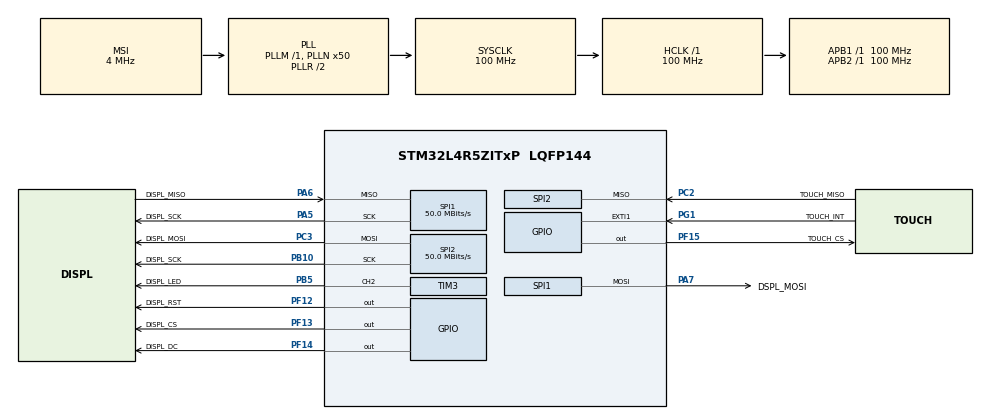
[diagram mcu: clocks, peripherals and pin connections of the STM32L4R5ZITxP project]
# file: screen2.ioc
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Dma.Request0=SPI2_TX
Dma.Request1=SPI1_TX
Dma.SPI1_TX.1.Direction=DMA_MEMORY_TO_PERIPH
Dma.SPI1_TX.1.EventEnable=DISABLE
Dma.SPI1_TX.1.Instance=DMA1_Channel2
Dma.SPI1_TX.1.MemDataAlignment=DMA_MDATAALIGN_BYTE
Dma.SPI1_TX.1.MemInc=DMA_MINC_ENABLE
Dma.SPI1_TX.1.Mode=DMA_NORMAL
Dma.SPI1_TX.1.PeriphDataAlignment=DMA_PDATAALIGN_BYTE
Dma.SPI1_TX.1.PeriphInc=DMA_PINC_DISABLE
Dma.SPI1_TX.1.Polarity=HAL_DMAMUX_REQUEST_GEN_RISING
Dma.SPI1_TX.1.Priority=DMA_PRIORITY_LOW
Dma.SPI1_TX.1.RequestNumber=1
Dma.SPI1_TX.1.SignalID=NONE
Dma.SPI1_TX.1.SyncEnable=DISABLE
Dma.SPI1_TX.1.SyncPolarity=HAL_DMAMUX_SYNC_NO_EVENT
Dma.SPI1_TX.1.SyncRequestNumber=1
Dma.SPI1_TX.1.SyncSignalID=NONE
Dma.SPI2_TX.0.Direction=DMA_MEMORY_TO_PERIPH
Dma.SPI2_TX.0.EventEnable=DISABLE
Dma.SPI2_TX.0.Instance=DMA1_Channel1
Dma.SPI2_TX.0.MemDataAlignment=DMA_MDATAALIGN_BYTE
Dma.SPI2_TX.0.MemInc=DMA_MINC_ENABLE
Dma.SPI2_TX.0.Mode=DMA_NORMAL
Dma.SPI2_TX.0.PeriphDataAlignment=DMA_PDATAALIGN_BYTE
Dma.SPI2_TX.0.PeriphInc=DMA_PINC_DISABLE
Dma.SPI2_TX.0.Polarity=HAL_DMAMUX_REQUEST_GEN_RISING
Dma.SPI2_TX.0.Priority=DMA_PRIORITY_LOW
Dma.SPI2_TX.0.RequestNumber=1
Dma.SPI2_TX.0.SignalID=NONE
Dma.SPI2_TX.0.SyncEnable=DISABLE
Dma.SPI2_TX.0.SyncPolarity=HAL_DMAMUX_SYNC_NO_EVENT
Dma.SPI2_TX.0.SyncRequestNumber=1
Dma.SPI2_TX.0.SyncSignalID=NONE
Mcu.Family=STM32L4
Mcu.Name=STM32L4R5ZITxP
Mcu.Package=LQFP144
NVIC.DMA1_Channel1_IRQn=true\:0\:0\:false\:false\:true\:false\:true\:true
NVIC.DMA1_Channel2_IRQn=true\:0\:0\:false\:false\:true\:false\:true\:true
NVIC.EXTI1_IRQn=true\:0\:0\:false\:false\:true\:true\:true\:true
NVIC.PriorityGroup=NVIC_PRIORITYGROUP_4
NVIC.SPI1_IRQn=true\:0\:0\:false\:false\:true\:true\:true\:true
NVIC.SPI2_IRQn=true\:0\:0\:false\:false\:true\:true\:true\:true
PA1.Signal=ADCx_IN6
PA10.Signal=USB_OTG_FS_ID
PA13\ (JTMS/SWDIO).Mode=Serial_Wire
PA13\ (JTMS/SWDIO).Signal=SYS_JTMS-SWDIO
PA14\ (JTCK/SWCLK).Mode=Serial_Wire
PA14\ (JTCK/SWCLK).Signal=SYS_JTCK-SWCLK
PA3.Signal=ADCx_IN8
PA4.Signal=SPI1_NSS
PA5.GPIO_Label=DISPL_SCK
PA5.Mode=Full_Duplex_Master
PA5.Signal=SPI1_SCK
PA6.GPIO_Label=DISPL_MISO
PA6.Mode=Full_Duplex_Master
PA6.Signal=SPI1_MISO
PA7.GPIO_Label=DSPL_MOSI
PA7.Mode=Full_Duplex_Master
PA7.Signal=SPI1_MOSI
PA9.Signal=USB_OTG_FS_VBUS
PB0.Signal=S_TIM3_CH3
PB1.Signal=ADCx_IN16
PB10.GPIO_Label=DISPL_SCK
PB10.Mode=Full_Duplex_Master
PB10.Signal=SPI2_SCK
PB12.Signal=SAI2_FS_A
PB13.Signal=SAI2_SCK_A
PB14.Signal=S_TIM15_CH1
PB15.Signal=SAI2_SD_A
PB2.Signal=COMP1_INP
PB5.GPIO_Label=DISPL_LED
PB5.Signal=S_TIM3_CH2
PB6.Signal=COMP2_INP
PB8.Signal=I2C1_SCL
PB9.Signal=I2C1_SDA
PC0.Signal=ADCx_IN1
PC10.Signal=SDMMC1_D2
PC11.Signal=SDMMC1_D3
PC12.Signal=SDMMC1_CK
PC13.Signal=SYS_WKUP2
PC14-OSC32_IN\ (PC14).Signal=RCC_OSC32_IN
PC15-OSC32_OUT\ (PC15).Signal=RCC_OSC32_OUT
PC2.GPIO_Label=TOUCH_MISO
PC2.Mode=Full_Duplex_Master
PC2.Signal=SPI2_MISO
PC3.GPIO_Label=DISPL_MOSI
PC3.Mode=Full_Duplex_Master
PC3.Signal=SPI2_MOSI
PC4.Signal=ADCx_IN13
PC6.Signal=S_TIM3_CH1
PC8.Signal=SDMMC1_D0
PC9.Signal=SDMMC1_D1
PD14.Signal=S_TIM4_CH3
PD15.Signal=S_TIM4_CH4
PD2.Signal=SDMMC1_CMD
PD3.Signal=USART2_CTS
PD4.Signal=USART2_RTS
PD5.Signal=USART2_TX
PD6.Signal=USART2_RX
PD8.Signal=USART3_TX
PD9.Signal=USART3_RX
PE0.Signal=S_TIM4_ETR
PE10.Signal=TIM1_CH2N
PE11.Signal=S_TIM1_CH2
PE12.Signal=TIM1_CH3N
PE13.Signal=S_TIM1_CH3
PE14.Signal=TIM1_BKIN2
PE15.Signal=TIM1_BKIN
PE3.Signal=SAI1_SD_B
PE7.Signal=S_TIM1_ETR
PE8.Signal=TIM1_CH1N
PE9.Signal=S_TIM1_CH1
PF0.Signal=I2C2_SDA
PF1.Signal=I2C2_SCL
PF12.GPIO_Label=DISPL_RST
PF12.Signal=GPIO_Output
PF13.GPIO_Label=DISPL_CS
PF13.GPIO_Speed=GPIO_SPEED_FREQ_HIGH
PF13.PinState=GPIO_PIN_SET
PF13.Signal=GPIO_Output
PF14.GPIO_Label=DISPL_DC
PF14.GPIO_Speed=GPIO_SPEED_FREQ_HIGH
PF14.Signal=GPIO_Output
PF15.GPIO_Label=TOUCH_CS
PF15.GPIO_Speed=GPIO_SPEED_FREQ_HIGH
PF15.PinState=GPIO_PIN_SET
PF15.Signal=GPIO_Output
PF2.Signal=I2C2_SMBA
PF7.Signal=SAI1_MCLK_B
PG1.GPIO_Label=TOUCH_INT
PG1.Signal=GPXTI1
PG7.Signal=LPUART1_TX
PG8.Signal=LPUART1_RX
PH0-OSC_IN\ (PH0).Mode=HSE-External-Oscillator
PH0-OSC_IN\ (PH0).Signal=RCC_OSC_IN
PH1-OSC_OUT\ (PH1).Mode=HSE-External-Oscillator
PH1-OSC_OUT\ (PH1).Signal=RCC_OSC_OUT
ProjectManager.HeapSize=0x200
ProjectManager.StackSize=0x400
ProjectManager.TargetToolchain=STM32CubeIDE
RCC.AHBFreq_Value=100000000
RCC.APB1Freq_Value=100000000
RCC.APB1TimFreq_Value=100000000
RCC.APB2Freq_Value=100000000
RCC.APB2TimFreq_Value=100000000
RCC.CortexFreq_Value=100000000
RCC.HCLKFreq_Value=100000000
RCC.HSE_VALUE=25000000
RCC.HSI48_VALUE=48000000
RCC.HSI_VALUE=16000000
RCC.LSE_VALUE=32768
RCC.MSI_VALUE=4000000
RCC.PLLN=50
RCC.SYSCLKFreq_VALUE=100000000
RCC.SYSCLKSource=RCC_SYSCLKSOURCE_PLLCLK
RCC.VCOOutputFreq_Value=200000000
SH.ADCx_IN1.0=ADC1_IN1
SH.ADCx_IN13.0=ADC1_IN13
SH.ADCx_IN16.0=ADC1_IN16
SH.ADCx_IN6.0=ADC1_IN6
SH.ADCx_IN8.0=ADC1_IN8
SH.S_TIM15_CH1.0=TIM15_CH1
SH.S_TIM1_CH1.0=TIM1_CH1
SH.S_TIM1_CH2.0=TIM1_CH2
SH.S_TIM1_CH3.0=TIM1_CH3
SH.S_TIM1_ETR.0=TIM1_ETR
SH.S_TIM3_CH1.0=TIM3_CH1
SH.S_TIM3_CH2.0=TIM3_CH2,PWM Generation2 CH2
SH.S_TIM3_CH3.0=TIM3_CH3
SH.S_TIM4_CH3.0=TIM4_CH3
SH.S_TIM4_CH4.0=TIM4_CH4
SH.S_TIM4_ETR.0=TIM4_ETR
SPI1.CalculateBaudRate=50.0 MBits/s
SPI1.DataSize=SPI_DATASIZE_8BIT
SPI1.Direction=SPI_DIRECTION_2LINES
SPI1.Mode=SPI_MODE_MASTER
SPI1.VirtualType=VM_MASTER
SPI2.CalculateBaudRate=50.0 MBits/s
SPI2.DataSize=SPI_DATASIZE_8BIT
SPI2.Direction=SPI_DIRECTION_2LINES
SPI2.Mode=SPI_MODE_MASTER
SPI2.VirtualType=VM_MASTER
STMicroelectronics.X-CUBE-TOUCHGFX.4.22.1.ApplicationCcGraphicsJjApplication=TouchGFXOoGenerator
STMicroelectronics.X-CUBE-TOUCHGFX.4.22.1.tgfx_buffering_strategy=Partial
STMicroelectronics.X-CUBE-TOUCHGFX.4.22.1.tgfx_custom_height=240
STMicroelectronics.X-CUBE-TOUCHGFX.4.22.1.tgfx_custom_width=320
STMicroelectronics.X-CUBE-TOUCHGFX.4.22.1_IsPackSelfContextualization=true
TIM3.Channel-PWM\ Generation2\ CH2=TIM_CHANNEL_2
TIM3.Period=100
TIM3.Prescaler=10000
VP_CRC_VS_CRC.Mode=CRC_Activate
VP_STMicroelectronics.X-CUBE-TOUCHGFX_VS_GraphicsJjApplication_4.22.1.Mode=GraphicsJjApplication
board=NUCLEO-L4R5ZI-P

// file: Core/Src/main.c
/* USER CODE BEGIN Header */
/**
  ******************************************************************************
  * @file           : main.c
  * @brief          : Main program body
  ******************************************************************************
  * @attention
  *
  * Copyright (c) 2023 STMicroelectronics.
  * All rights reserved.
  *
  * This software is licensed under terms that can be found in the LICENSE file
  * in the root directory of this software component.
  * If no LICENSE file comes with this software, it is provided AS-IS.
  *
  ******************************************************************************
  */
/* USER CODE END Header */
#include "main.h"
#include "app_touchgfx.h"

/* USER CODE BEGIN PD */
#define maxLetters 50
/* USER CODE END PD */

CRC_HandleTypeDef hcrc;

SPI_HandleTypeDef hspi1;
SPI_HandleTypeDef hspi2;
DMA_HandleTypeDef hdma_spi1_tx;
DMA_HandleTypeDef hdma_spi2_tx;

TIM_HandleTypeDef htim3;

/* USER CODE BEGIN PV */
__IO uint8_t midi_titleBuffer[maxLetters] = "hello world";
__IO uint8_t rx_counter = 50;
__IO uint8_t midiTitleReady = 1;

/* USER CODE END PV */

void SystemClock_Config(void);
static void MX_GPIO_Init(void);
static void MX_DMA_Init(void);
static void MX_SPI1_Init(void);
static void MX_SPI2_Init(void);
static void MX_CRC_Init(void);
static void MX_TIM3_Init(void);

int main(void)
{

  /* MCU Configuration--------------------------------------------------------*/

  /* Reset of all peripherals, Initializes the Flash interface and the Systick. */

	HAL_Init();

  /* Configure the system clock */
  SystemClock_Config();

  /* Initialize all configured peripherals */
  MX_GPIO_Init();
  MX_DMA_Init();
  MX_SPI1_Init();
  MX_SPI2_Init();
  MX_CRC_Init();
  MX_TIM3_Init();
  MX_TouchGFX_Init();
  /* USER CODE BEGIN 2 */
  Displ_Init(Displ_Orientat_270);		// initialize the display and set the initial display orientation (here is orientaton: 0°) - THIS FUNCTION MUST PRECEED ANY OTHER DISPLAY FUNCTION CALL.
  touchgfxSignalVSync();		// asks TouchGFX to start initial display drawing
  Displ_BackLight('I');  			// initialize backlight and turn it on at init level

//  ILI9341_Init();
//
//  // Simple Text writing (Text, Font, X, Y, Color, BackColor)
//  // Available Fonts are FONT1, FONT2, FONT3 and FONT4
//  ILI9341_FillScreen(WHITE);
//  ILI9341_SetRotation(SCREEN_HORIZONTAL_2);
//  ILI9341_DrawText("hIIII", FONT1, 10, 110, BLACK, WHITE);
//  ILI9341_DrawText("Zovic, Jesus, Pranav, Daniel", FONT3, 0, 70, BLACK, WHITE);
//
//  HAL_Delay(1000);
//
//  //Writing numbers
//  ILI9341_FillScreen(WHITE);
//  static char BufferText[30];
//  for(uint8_t i = 0; i <= 5; i++)
//  {
//    sprintf(BufferText, "COUNT : %d", i);
//    ILI9341_DrawText(BufferText, FONT3, 10, 10, BLACK, WHITE);
//    ILI9341_DrawText(BufferText, FONT3, 10, 30, BLUE, WHITE);
//    ILI9341_DrawText(BufferText, FONT3, 10, 50, RED, WHITE);
//    ILI9341_DrawText(BufferText, FONT3, 10, 70, GREEN, WHITE);
//    ILI9341_DrawText(BufferText, FONT3, 10, 90, YELLOW, WHITE);
//    ILI9341_DrawText(BufferText, FONT3, 10, 110, PURPLE, WHITE);
//    ILI9341_DrawText(BufferText, FONT3, 10, 130, ORANGE, WHITE);
//    ILI9341_DrawText(BufferText, FONT3, 10, 150, MAROON, WHITE);
//    ILI9341_DrawText(BufferText, FONT3, 10, 170, WHITE, BLACK);
//    ILI9341_DrawText(BufferText, FONT3, 10, 190, BLUE, BLACK);
//  }
//
//  // Horizontal Line (X, Y, Length, Color)
//  ILI9341_FillScreen(WHITE);
//  ILI9341_DrawHLine(50, 120, 200, NAVY);
//  HAL_Delay(1000);
//
//  // Vertical Line (X, Y, Length, Color)
//  ILI9341_FillScreen(WHITE);
//  ILI9341_DrawVLine(160, 40, 150, DARKGREEN);
//  HAL_Delay(1000);
//
//  // Hollow Circle (Centre X, Centre Y, Radius, Color)
//  ILI9341_FillScreen(WHITE);
//  ILI9341_DrawHollowCircle(160, 120, 80, PINK);
//  HAL_Delay(1000);
//
//  // Filled Circle (Centre X, Centre Y, Radius, Color)
//  ILI9341_FillScreen(WHITE);
//  ILI9341_DrawFilledCircle(160, 120, 50, CYAN);
//  HAL_Delay(1000);
//
//  // Filled Rectangle (Start X, Start Y, Length X, Length Y)
//  ILI9341_FillScreen(WHITE);
//  ILI9341_DrawRectangle(50, 50, 220, 140, GREENYELLOW);
//  HAL_Delay(1000);
//
//  // Hollow Rectangle (Start X, Start Y, End X, End Y)
//  ILI9341_FillScreen(WHITE);
//  ILI9341_DrawHollowRectangleCoord(50, 50, 270, 190, DARKCYAN);
//  HAL_Delay(1000);
//
//  // Simple Pixel Only (X, Y, Color)
//  ILI9341_FillScreen(WHITE);
//  ILI9341_DrawPixel(100, 100, BLACK);
//  HAL_Delay(1000);
  /* USER CODE END 2 */

  /* Infinite loop */
  /* USER CODE BEGIN WHILE */
  int pressed = 0;
  int start = 0;
  while (1)
  {	 		// asks TouchGFX to get events and redraw screen

	  if(start){
		  touchgfxSignalVSync();
	  }

	  if(Touch_In_XY_area(120,  140,138,50)){
		  start = 1;
		  pressed = !pressed;
	  	  touchgfxSignalVSync();		// asks TouchGFX to handle touch and redraw screen
	  }

    /* USER CODE END WHILE */

  MX_TouchGFX_Process();
  }
}

void SystemClock_Config(void)
{
  RCC_OscInitTypeDef RCC_OscInitStruct = {0};
  RCC_ClkInitTypeDef RCC_ClkInitStruct = {0};

  /** Configure the main internal regulator output voltage
  */
  if (HAL_PWREx_ControlVoltageScaling(PWR_REGULATOR_VOLTAGE_SCALE1_BOOST) != HAL_OK)
  {
    Error_Handler();
  }

  /** Initializes the RCC Oscillators according to the specified parameters
  * in the RCC_OscInitTypeDef structure.
  */
  RCC_OscInitStruct.OscillatorType = RCC_OSCILLATORTYPE_MSI;
  RCC_OscInitStruct.MSIState = RCC_MSI_ON;
  RCC_OscInitStruct.MSICalibrationValue = 0;
  RCC_OscInitStruct.MSIClockRange = RCC_MSIRANGE_6;
  RCC_OscInitStruct.PLL.PLLState = RCC_PLL_ON;
  RCC_OscInitStruct.PLL.PLLSource = RCC_PLLSOURCE_MSI;
  RCC_OscInitStruct.PLL.PLLM = 1;
  RCC_OscInitStruct.PLL.PLLN = 50;
  RCC_OscInitStruct.PLL.PLLP = RCC_PLLP_DIV2;
  RCC_OscInitStruct.PLL.PLLQ = RCC_PLLQ_DIV2;
  RCC_OscInitStruct.PLL.PLLR = RCC_PLLR_DIV2;
  if (HAL_RCC_OscConfig(&RCC_OscInitStruct) != HAL_OK)
  {
    Error_Handler();
  }

  /** Initializes the CPU, AHB and APB buses clocks
  */
  RCC_ClkInitStruct.ClockType = RCC_CLOCKTYPE_HCLK|RCC_CLOCKTYPE_SYSCLK
                              |RCC_CLOCKTYPE_PCLK1|RCC_CLOCKTYPE_PCLK2;
  RCC_ClkInitStruct.SYSCLKSource = RCC_SYSCLKSOURCE_PLLCLK;
  RCC_ClkInitStruct.AHBCLKDivider = RCC_SYSCLK_DIV1;
  RCC_ClkInitStruct.APB1CLKDivider = RCC_HCLK_DIV1;
  RCC_ClkInitStruct.APB2CLKDivider = RCC_HCLK_DIV1;

  if (HAL_RCC_ClockConfig(&RCC_ClkInitStruct, FLASH_LATENCY_4) != HAL_OK)
  {
    Error_Handler();
  }
}

static void MX_CRC_Init(void)
{

  hcrc.Instance = CRC;
  hcrc.Init.DefaultPolynomialUse = DEFAULT_POLYNOMIAL_ENABLE;
  hcrc.Init.DefaultInitValueUse = DEFAULT_INIT_VALUE_ENABLE;
  hcrc.Init.InputDataInversionMode = CRC_INPUTDATA_INVERSION_NONE;
  hcrc.Init.OutputDataInversionMode = CRC_OUTPUTDATA_INVERSION_DISABLE;
  hcrc.InputDataFormat = CRC_INPUTDATA_FORMAT_BYTES;
  if (HAL_CRC_Init(&hcrc) != HAL_OK)
  {
    Error_Handler();
  }

}

static void MX_SPI1_Init(void)
{

  /* SPI1 parameter configuration*/
  hspi1.Instance = SPI1;
  hspi1.Init.Mode = SPI_MODE_MASTER;
  hspi1.Init.Direction = SPI_DIRECTION_2LINES;
  hspi1.Init.DataSize = SPI_DATASIZE_8BIT;
  hspi1.Init.CLKPolarity = SPI_POLARITY_LOW;
  hspi1.Init.CLKPhase = SPI_PHASE_1EDGE;
  hspi1.Init.NSS = SPI_NSS_SOFT;
  hspi1.Init.BaudRatePrescaler = SPI_BAUDRATEPRESCALER_2;
  hspi1.Init.FirstBit = SPI_FIRSTBIT_MSB;
  hspi1.Init.TIMode = SPI_TIMODE_DISABLE;
  hspi1.Init.CRCCalculation = SPI_CRCCALCULATION_DISABLE;
  hspi1.Init.CRCPolynomial = 7;
  hspi1.Init.CRCLength = SPI_CRC_LENGTH_DATASIZE;
  hspi1.Init.NSSPMode = SPI_NSS_PULSE_ENABLE;
  if (HAL_SPI_Init(&hspi1) != HAL_OK)
  {
    Error_Handler();
  }

}

static void MX_SPI2_Init(void)
{

  /* SPI2 parameter configuration*/
  hspi2.Instance = SPI2;
  hspi2.Init.Mode = SPI_MODE_MASTER;
  hspi2.Init.Direction = SPI_DIRECTION_2LINES;
  hspi2.Init.DataSize = SPI_DATASIZE_8BIT;
  hspi2.Init.CLKPolarity = SPI_POLARITY_LOW;
  hspi2.Init.CLKPhase = SPI_PHASE_1EDGE;
  hspi2.Init.NSS = SPI_NSS_SOFT;
  hspi2.Init.BaudRatePrescaler = SPI_BAUDRATEPRESCALER_2;
  hspi2.Init.FirstBit = SPI_FIRSTBIT_MSB;
  hspi2.Init.TIMode = SPI_TIMODE_DISABLE;
  hspi2.Init.CRCCalculation = SPI_CRCCALCULATION_DISABLE;
  hspi2.Init.CRCPolynomial = 7;
  hspi2.Init.CRCLength = SPI_CRC_LENGTH_DATASIZE;
  hspi2.Init.NSSPMode = SPI_NSS_PULSE_ENABLE;
  if (HAL_SPI_Init(&hspi2) != HAL_OK)
  {
    Error_Handler();
  }

}

static void MX_TIM3_Init(void)
{

  TIM_MasterConfigTypeDef sMasterConfig = {0};
  TIM_OC_InitTypeDef sConfigOC = {0};

  htim3.Instance = TIM3;
  htim3.Init.Prescaler = 10000;
  htim3.Init.CounterMode = TIM_COUNTERMODE_UP;
  htim3.Init.Period = 100;
  htim3.Init.ClockDivision = TIM_CLOCKDIVISION_DIV1;
  htim3.Init.AutoReloadPreload = TIM_AUTORELOAD_PRELOAD_DISABLE;
  if (HAL_TIM_PWM_Init(&htim3) != HAL_OK)
  {
    Error_Handler();
  }
  sMasterConfig.MasterOutputTrigger = TIM_TRGO_RESET;
  sMasterConfig.MasterSlaveMode = TIM_MASTERSLAVEMODE_DISABLE;
  if (HAL_TIMEx_MasterConfigSynchronization(&htim3, &sMasterConfig) != HAL_OK)
  {
    Error_Handler();
  }
  sConfigOC.OCMode = TIM_OCMODE_PWM1;
  sConfigOC.Pulse = 0;
  sConfigOC.OCPolarity = TIM_OCPOLARITY_HIGH;
  sConfigOC.OCFastMode = TIM_OCFAST_DISABLE;
  if (HAL_TIM_PWM_ConfigChannel(&htim3, &sConfigOC, TIM_CHANNEL_2) != HAL_OK)
  {
    Error_Handler();
  }
  HAL_TIM_MspPostInit(&htim3);

}

static void MX_DMA_Init(void)
{

  /* DMA controller clock enable */
  __HAL_RCC_DMAMUX1_CLK_ENABLE();
  __HAL_RCC_DMA1_CLK_ENABLE();

  /* DMA interrupt init */
  /* DMA1_Channel1_IRQn interrupt configuration */
  HAL_NVIC_SetPriority(DMA1_Channel1_IRQn, 0, 0);
  HAL_NVIC_EnableIRQ(DMA1_Channel1_IRQn);
  /* DMA1_Channel2_IRQn interrupt configuration */
  HAL_NVIC_SetPriority(DMA1_Channel2_IRQn, 0, 0);
  HAL_NVIC_EnableIRQ(DMA1_Channel2_IRQn);

}

static void MX_GPIO_Init(void)
{
  GPIO_InitTypeDef GPIO_InitStruct = {0};

  /* GPIO Ports Clock Enable */
  __HAL_RCC_GPIOE_CLK_ENABLE();
  __HAL_RCC_GPIOC_CLK_ENABLE();
  __HAL_RCC_GPIOF_CLK_ENABLE();
  __HAL_RCC_GPIOH_CLK_ENABLE();
  __HAL_RCC_GPIOA_CLK_ENABLE();
  __HAL_RCC_GPIOB_CLK_ENABLE();
  __HAL_RCC_GPIOG_CLK_ENABLE();
  __HAL_RCC_GPIOD_CLK_ENABLE();
  HAL_PWREx_EnableVddIO2();

  /*Configure GPIO pin Output Level */
  HAL_GPIO_WritePin(GPIOF, DISPL_RST_Pin|DISPL_DC_Pin, GPIO_PIN_RESET);

  /*Configure GPIO pin Output Level */
  HAL_GPIO_WritePin(GPIOF, DISPL_CS_Pin|TOUCH_CS_Pin, GPIO_PIN_SET);

  /*Configure GPIO pin : PE3 */
  GPIO_InitStruct.Pin = GPIO_PIN_3;
  GPIO_InitStruct.Mode = GPIO_MODE_AF_PP;
  GPIO_InitStruct.Pull = GPIO_NOPULL;
  GPIO_InitStruct.Speed = GPIO_SPEED_FREQ_LOW;
  GPIO_InitStruct.Alternate = GPIO_AF13_SAI1;
  HAL_GPIO_Init(GPIOE, &GPIO_InitStruct);

  /*Configure GPIO pins : PF0 PF1 PF2 */
  GPIO_InitStruct.Pin = GPIO_PIN_0|GPIO_PIN_1|GPIO_PIN_2;
  GPIO_InitStruct.Mode = GPIO_MODE_AF_OD;
  GPIO_InitStruct.Pull = GPIO_NOPULL;
  GPIO_InitStruct.Speed = GPIO_SPEED_FREQ_VERY_HIGH;
  GPIO_InitStruct.Alternate = GPIO_AF4_I2C2;
  HAL_GPIO_Init(GPIOF, &GPIO_InitStruct);

  /*Configure GPIO pin : PF7 */
  GPIO_InitStruct.Pin = GPIO_PIN_7;
  GPIO_InitStruct.Mode = GPIO_MODE_AF_PP;
  GPIO_InitStruct.Pull = GPIO_NOPULL;
  GPIO_InitStruct.Speed = GPIO_SPEED_FREQ_LOW;
  GPIO_InitStruct.Alternate = GPIO_AF13_SAI1;
  HAL_GPIO_Init(GPIOF, &GPIO_InitStruct);

  /*Configure GPIO pins : PC0 PC4 */
  GPIO_InitStruct.Pin = GPIO_PIN_0|GPIO_PIN_4;
  GPIO_InitStruct.Mode = GPIO_MODE_ANALOG_ADC_CONTROL;
  GPIO_InitStruct.Pull = GPIO_NOPULL;
  HAL_GPIO_Init(GPIOC, &GPIO_InitStruct);

  /*Configure GPIO pins : PA1 PA3 */
  GPIO_InitStruct.Pin = GPIO_PIN_1|GPIO_PIN_3;
  GPIO_InitStruct.Mode = GPIO_MODE_ANALOG_ADC_CONTROL;
  GPIO_InitStruct.Pull = GPIO_NOPULL;
  HAL_GPIO_Init(GPIOA, &GPIO_InitStruct);

  /*Configure GPIO pin : PB1 */
  GPIO_InitStruct.Pin = GPIO_PIN_1;
  GPIO_InitStruct.Mode = GPIO_MODE_ANALOG_ADC_CONTROL;
  GPIO_InitStruct.Pull = GPIO_NOPULL;
  HAL_GPIO_Init(GPIOB, &GPIO_InitStruct);

  /*Configure GPIO pins : PB2 PB6 */
  GPIO_InitStruct.Pin = GPIO_PIN_2|GPIO_PIN_6;
  GPIO_InitStruct.Mode = GPIO_MODE_ANALOG;
  GPIO_InitStruct.Pull = GPIO_NOPULL;
  HAL_GPIO_Init(GPIOB, &GPIO_InitStruct);

  /*Configure GPIO pin : DISPL_RST_Pin */
  GPIO_InitStruct.Pin = DISPL_RST_Pin;
  GPIO_InitStruct.Mode = GPIO_MODE_OUTPUT_PP;
  GPIO_InitStruct.Pull = GPIO_NOPULL;
  GPIO_InitStruct.Speed = GPIO_SPEED_FREQ_LOW;
  HAL_GPIO_Init(DISPL_RST_GPIO_Port, &GPIO_InitStruct);

  /*Configure GPIO pins : DISPL_CS_Pin DISPL_DC_Pin TOUCH_CS_Pin */
  GPIO_InitStruct.Pin = DISPL_CS_Pin|DISPL_DC_Pin|TOUCH_CS_Pin;
  GPIO_InitStruct.Mode = GPIO_MODE_OUTPUT_PP;
  GPIO_InitStruct.Pull = GPIO_NOPULL;
  GPIO_InitStruct.Speed = GPIO_SPEED_FREQ_HIGH;
  HAL_GPIO_Init(GPIOF, &GPIO_InitStruct);

  /*Configure GPIO pin : TOUCH_INT_Pin */
  GPIO_InitStruct.Pin = TOUCH_INT_Pin;
  GPIO_InitStruct.Mode = GPIO_MODE_IT_RISING;
  GPIO_InitStruct.Pull = GPIO_NOPULL;
  HAL_GPIO_Init(TOUCH_INT_GPIO_Port, &GPIO_InitStruct);

  /*Configure GPIO pins : PE7 PE8 PE9 PE10
                           PE11 PE12 PE13 */
  GPIO_InitStruct.Pin = GPIO_PIN_7|GPIO_PIN_8|GPIO_PIN_9|GPIO_PIN_10
                          |GPIO_PIN_11|GPIO_PIN_12|GPIO_PIN_13;
  GPIO_InitStruct.Mode = GPIO_MODE_AF_PP;
  GPIO_InitStruct.Pull = GPIO_NOPULL;
  GPIO_InitStruct.Speed = GPIO_SPEED_FREQ_LOW;
  GPIO_InitStruct.Alternate = GPIO_AF1_TIM1;
  HAL_GPIO_Init(GPIOE, &GPIO_InitStruct);

  /*Configure GPIO pins : PE14 PE15 */
  GPIO_InitStruct.Pin = GPIO_PIN_14|GPIO_PIN_15;
  GPIO_InitStruct.Mode = GPIO_MODE_AF_PP;
  GPIO_InitStruct.Pull = GPIO_NOPULL;
  GPIO_InitStruct.Speed = GPIO_SPEED_FREQ_LOW;
  GPIO_InitStruct.Alternate = GPIO_AF3_TIM1_COMP1;
  HAL_GPIO_Init(GPIOE, &GPIO_InitStruct);

  /*Configure GPIO pins : PB12 PB13 PB15 */
  GPIO_InitStruct.Pin = GPIO_PIN_12|GPIO_PIN_13|GPIO_PIN_15;
  GPIO_InitStruct.Mode = GPIO_MODE_AF_PP;
  GPIO_InitStruct.Pull = GPIO_NOPULL;
  GPIO_InitStruct.Speed = GPIO_SPEED_FREQ_LOW;
  GPIO_InitStruct.Alternate = GPIO_AF13_SAI2;
  HAL_GPIO_Init(GPIOB, &GPIO_InitStruct);

  /*Configure GPIO pin : PB14 */
  GPIO_InitStruct.Pin = GPIO_PIN_14;
  GPIO_InitStruct.Mode = GPIO_MODE_AF_PP;
  GPIO_InitStruct.Pull = GPIO_NOPULL;
  GPIO_InitStruct.Speed = GPIO_SPEED_FREQ_LOW;
  GPIO_InitStruct.Alternate = GPIO_AF14_TIM15;
  HAL_GPIO_Init(GPIOB, &GPIO_InitStruct);

  /*Configure GPIO pins : PD8 PD9 */
  GPIO_InitStruct.Pin = GPIO_PIN_8|GPIO_PIN_9;
  GPIO_InitStruct.Mode = GPIO_MODE_AF_PP;
  GPIO_InitStruct.Pull = GPIO_NOPULL;
  GPIO_InitStruct.Speed = GPIO_SPEED_FREQ_VERY_HIGH;
  GPIO_InitStruct.Alternate = GPIO_AF7_USART3;
  HAL_GPIO_Init(GPIOD, &GPIO_InitStruct);

  /*Configure GPIO pins : PD14 PD15 */
  GPIO_InitStruct.Pin = GPIO_PIN_14|GPIO_PIN_15;
  GPIO_InitStruct.Mode = GPIO_MODE_AF_PP;
  GPIO_InitStruct.Pull = GPIO_NOPULL;
  GPIO_InitStruct.Speed = GPIO_SPEED_FREQ_LOW;
  GPIO_InitStruct.Alternate = GPIO_AF2_TIM4;
  HAL_GPIO_Init(GPIOD, &GPIO_InitStruct);

  /*Configure GPIO pins : PG7 PG8 */
  GPIO_InitStruct.Pin = GPIO_PIN_7|GPIO_PIN_8;
  GPIO_InitStruct.Mode = GPIO_MODE_AF_PP;
  GPIO_InitStruct.Pull = GPIO_NOPULL;
  GPIO_InitStruct.Speed = GPIO_SPEED_FREQ_VERY_HIGH;
  GPIO_InitStruct.Alternate = GPIO_AF8_LPUART1;
  HAL_GPIO_Init(GPIOG, &GPIO_InitStruct);

  /*Configure GPIO pins : PC8 PC9 PC10 PC11
                           PC12 */
  GPIO_InitStruct.Pin = GPIO_PIN_8|GPIO_PIN_9|GPIO_PIN_10|GPIO_PIN_11
                          |GPIO_PIN_12;
  GPIO_InitStruct.Mode = GPIO_MODE_AF_PP;
  GPIO_InitStruct.Pull = GPIO_NOPULL;
  GPIO_InitStruct.Speed = GPIO_SPEED_FREQ_VERY_HIGH;
  GPIO_InitStruct.Alternate = GPIO_AF12_SDMMC1;
  HAL_GPIO_Init(GPIOC, &GPIO_InitStruct);

  /*Configure GPIO pin : PA9 */
  GPIO_InitStruct.Pin = GPIO_PIN_9;
  GPIO_InitStruct.Mode = GPIO_MODE_INPUT;
  GPIO_InitStruct.Pull = GPIO_NOPULL;
  HAL_GPIO_Init(GPIOA, &GPIO_InitStruct);

  /*Configure GPIO pin : PA10 */
  GPIO_InitStruct.Pin = GPIO_PIN_10;
  GPIO_InitStruct.Mode = GPIO_MODE_AF_PP;
  GPIO_InitStruct.Pull = GPIO_NOPULL;
  GPIO_InitStruct.Speed = GPIO_SPEED_FREQ_VERY_HIGH;
  GPIO_InitStruct.Alternate = GPIO_AF10_OTG_FS;
  HAL_GPIO_Init(GPIOA, &GPIO_InitStruct);

  /*Configure GPIO pin : PD2 */
  GPIO_InitStruct.Pin = GPIO_PIN_2;
  GPIO_InitStruct.Mode = GPIO_MODE_AF_PP;
  GPIO_InitStruct.Pull = GPIO_NOPULL;
  GPIO_InitStruct.Speed = GPIO_SPEED_FREQ_VERY_HIGH;
  GPIO_InitStruct.Alternate = GPIO_AF12_SDMMC1;
  HAL_GPIO_Init(GPIOD, &GPIO_InitStruct);

  /*Configure GPIO pins : PD3 PD4 PD5 PD6 */
  GPIO_InitStruct.Pin = GPIO_PIN_3|GPIO_PIN_4|GPIO_PIN_5|GPIO_PIN_6;
  GPIO_InitStruct.Mode = GPIO_MODE_AF_PP;
  GPIO_InitStruct.Pull = GPIO_NOPULL;
  GPIO_InitStruct.Speed = GPIO_SPEED_FREQ_VERY_HIGH;
  GPIO_InitStruct.Alternate = GPIO_AF7_USART2;
  HAL_GPIO_Init(GPIOD, &GPIO_InitStruct);

  /*Configure GPIO pins : PB8 PB9 */
  GPIO_InitStruct.Pin = GPIO_PIN_8|GPIO_PIN_9;
  GPIO_InitStruct.Mode = GPIO_MODE_AF_OD;
  GPIO_InitStruct.Pull = GPIO_NOPULL;
  GPIO_InitStruct.Speed = GPIO_SPEED_FREQ_VERY_HIGH;
  GPIO_InitStruct.Alternate = GPIO_AF4_I2C1;
  HAL_GPIO_Init(GPIOB, &GPIO_InitStruct);

  /*Configure GPIO pin : PE0 */
  GPIO_InitStruct.Pin = GPIO_PIN_0;
  GPIO_InitStruct.Mode = GPIO_MODE_AF_PP;
  GPIO_InitStruct.Pull = GPIO_NOPULL;
  GPIO_InitStruct.Speed = GPIO_SPEED_FREQ_LOW;
  GPIO_InitStruct.Alternate = GPIO_AF2_TIM4;
  HAL_GPIO_Init(GPIOE, &GPIO_InitStruct);

  /* EXTI interrupt init*/
  HAL_NVIC_SetPriority(EXTI1_IRQn, 0, 0);
  HAL_NVIC_EnableIRQ(EXTI1_IRQn);

}

void Error_Handler(void)
{
  __disable_irq();
  while (1)
  {
  }
}
